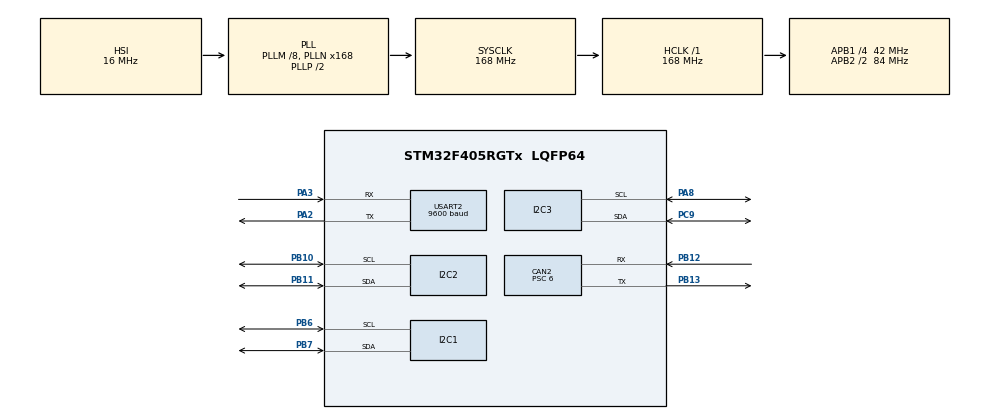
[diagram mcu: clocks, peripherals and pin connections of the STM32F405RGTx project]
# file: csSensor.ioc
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CAN2.BS1=CAN_BS1_11TQ
CAN2.BS2=CAN_BS2_2TQ
CAN2.CalculateBaudRate=500000
CAN2.CalculateTimeBit=2000
CAN2.CalculateTimeQuantum=142.85714285714286
CAN2.Prescaler=6
Dma.Request0=USART2_RX
Dma.USART2_RX.0.Direction=DMA_PERIPH_TO_MEMORY
Dma.USART2_RX.0.FIFOMode=DMA_FIFOMODE_DISABLE
Dma.USART2_RX.0.Instance=DMA1_Stream5
Dma.USART2_RX.0.MemDataAlignment=DMA_MDATAALIGN_BYTE
Dma.USART2_RX.0.MemInc=DMA_MINC_ENABLE
Dma.USART2_RX.0.Mode=DMA_NORMAL
Dma.USART2_RX.0.PeriphDataAlignment=DMA_PDATAALIGN_BYTE
Dma.USART2_RX.0.PeriphInc=DMA_PINC_DISABLE
Dma.USART2_RX.0.Priority=DMA_PRIORITY_LOW
Mcu.Family=STM32F4
Mcu.Name=STM32F405RGTx
Mcu.Package=LQFP64
NVIC.CAN2_RX0_IRQn=true\:0\:0\:false\:false\:true\:true\:true\:true
NVIC.DMA1_Stream5_IRQn=true\:0\:0\:false\:false\:true\:false\:true\:true
NVIC.PriorityGroup=NVIC_PRIORITYGROUP_4
PA13.Mode=Serial_Wire
PA13.Signal=SYS_JTMS-SWDIO
PA14.Mode=Serial_Wire
PA14.Signal=SYS_JTCK-SWCLK
PA2.Mode=Asynchronous
PA2.Signal=USART2_TX
PA3.Mode=Asynchronous
PA3.Signal=USART2_RX
PA8.Mode=I2C
PA8.Signal=I2C3_SCL
PB10.Mode=I2C
PB10.Signal=I2C2_SCL
PB11.Mode=I2C
PB11.Signal=I2C2_SDA
PB12.Mode=CAN_Activate
PB12.Signal=CAN2_RX
PB13.Mode=CAN_Activate
PB13.Signal=CAN2_TX
PB6.Mode=I2C
PB6.Signal=I2C1_SCL
PB7.Mode=I2C
PB7.Signal=I2C1_SDA
PC9.Mode=I2C
PC9.Signal=I2C3_SDA
PH0-OSC_IN.Mode=HSE-External-Oscillator
PH0-OSC_IN.Signal=RCC_OSC_IN
PH1-OSC_OUT.Mode=HSE-External-Oscillator
PH1-OSC_OUT.Signal=RCC_OSC_OUT
ProjectManager.HeapSize=0x200
ProjectManager.StackSize=0x400
ProjectManager.TargetToolchain=STM32CubeIDE
RCC.48MHZClocksFreq_Value=84000000
RCC.AHBFreq_Value=168000000
RCC.APB1CLKDivider=RCC_HCLK_DIV4
RCC.APB1Freq_Value=42000000
RCC.APB1TimFreq_Value=84000000
RCC.APB2CLKDivider=RCC_HCLK_DIV2
RCC.APB2Freq_Value=84000000
RCC.APB2TimFreq_Value=168000000
RCC.CortexFreq_Value=168000000
RCC.HCLKFreq_Value=168000000
RCC.HSE_VALUE=8000000
RCC.HSI_VALUE=16000000
RCC.LSE_VALUE=32768
RCC.PLLM=8
RCC.PLLN=168
RCC.SYSCLKFreq_VALUE=168000000
RCC.SYSCLKSource=RCC_SYSCLKSOURCE_PLLCLK
RCC.VCOOutputFreq_Value=336000000
RTC.Format=RTC_FORMAT_BIN
USART2.BaudRate=9600
USART2.VirtualMode=VM_ASYNC
VP_RTC_VS_RTC_Activate.Mode=RTC_Enabled
VP_RTC_VS_RTC_Calendar.Mode=RTC_Calendar
board=custom

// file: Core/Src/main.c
/* USER CODE BEGIN Header */
/**
  ******************************************************************************
  * @file           : main.c
  * @brief          : Main program body
  ******************************************************************************
  * @attention
  *
  * Copyright (c) 2026 STMicroelectronics.
  * All rights reserved.
  *
  * This software is licensed under terms that can be found in the LICENSE file
  * in the root directory of this software component.
  * If no LICENSE file comes with this software, it is provided AS-IS.
  *
  ******************************************************************************
  */
/* USER CODE END Header */
#include "main.h"

/* USER CODE BEGIN Includes */
#include "bno055UKB.h"
#include "ms5611UKB.h"
#include "nmea_parse.h"
#include "INA219.h"
#include <string.h>
#include <stdio.h>
#include "math.h"
/* USER CODE END Includes */

/* USER CODE BEGIN PD */
INA219_t ina219;
/* USER CODE END PD */

CAN_HandleTypeDef hcan2;

I2C_HandleTypeDef hi2c1;
I2C_HandleTypeDef hi2c2;
I2C_HandleTypeDef hi2c3;

RTC_HandleTypeDef hrtc;

UART_HandleTypeDef huart2;
DMA_HandleTypeDef hdma_usart2_rx;

/* USER CODE BEGIN PV */
/////////////GPS PV////////////////
int indx = 0;
#define RxBuffer_SIZE 128
#define DataBuffer_SIZE 256
uint16_t oldPos = 0;
uint16_t newPos = 0;
uint8_t RxBuffer[RxBuffer_SIZE];
uint8_t DataBuffer[DataBuffer_SIZE];
GPS myData;

/////////////CAN PV////////////////
CAN_TxHeaderTypeDef TxHeader;
CAN_RxHeaderTypeDef RxHeader;

uint32_t TxMailbox;

uint8_t TxData[8];
uint8_t RxData[8];

HAL_StatusTypeDef status;

volatile float receivedValue1 = 0;
volatile float receivedValue2 = 0;

/////////////INA219 PV/////////////
uint8_t inaOK = 0;
uint16_t busVoltage;
int16_t current;
/* USER CODE END PV */

void SystemClock_Config(void);
static void MX_GPIO_Init(void);
static void MX_DMA_Init(void);
static void MX_USART2_UART_Init(void);
static void MX_CAN2_Init(void);
static void MX_I2C1_Init(void);
static void MX_I2C2_Init(void);
static void MX_I2C3_Init(void);
static void MX_RTC_Init(void);
/* USER CODE BEGIN PFP */
void CAN_Filter_Config(void);
void CAN_Send_TwoFloat(float a, float b);
void CAN_Send_Datas(void);
/* USER CODE END PFP */

/* USER CODE BEGIN 0 */
void HAL_UARTEx_RxEventCallback(UART_HandleTypeDef *huart, uint16_t Size)
{
	HAL_GPIO_TogglePin(GPIOD, GPIO_PIN_12);
	indx = Size;

    oldPos = newPos; //keep track of the last position in the buffer
    if(oldPos + Size > DataBuffer_SIZE){ //if the buffer is full, parse it, then reset the buffer

        uint16_t datatocopy = DataBuffer_SIZE-oldPos;  // find out how much space is left in the main buffer
        memcpy ((uint8_t *)DataBuffer+oldPos, RxBuffer, datatocopy);  // copy data in that remaining space

        oldPos = 0;  // point to the start of the buffer
        memcpy ((uint8_t *)DataBuffer, (uint8_t *)RxBuffer+datatocopy, (Size-datatocopy));  // copy the remaining data
        newPos = (Size-datatocopy);  // update the position
    }
    else{
        memcpy((uint8_t *)DataBuffer+oldPos, RxBuffer, Size); //copy received data to the buffer
        newPos = Size+oldPos; //update buffer position

    }
    HAL_UARTEx_ReceiveToIdle_DMA(&huart2, RxBuffer, RxBuffer_SIZE); //re-enable the DMA interrupt
    __HAL_DMA_DISABLE_IT(&hdma_usart2_rx, DMA_IT_HT); //disable the half transfer interrupt
}
/* USER CODE END 0 */

int main(void)
{

  /* MCU Configuration--------------------------------------------------------*/

  /* Reset of all peripherals, Initializes the Flash interface and the Systick. */
  HAL_Init();

  /* Configure the system clock */
  SystemClock_Config();

  /* Initialize all configured peripherals */
  MX_GPIO_Init();
  MX_DMA_Init();
  MX_USART2_UART_Init();
  MX_CAN2_Init();
  MX_I2C1_Init();
  MX_I2C2_Init();
  MX_I2C3_Init();
  MX_RTC_Init();
  /* USER CODE BEGIN 2 */
  //////////////////BNO055 Init//////////////////
  bno055_initialize();

  //////////////////MS5611 Init//////////////////
  MS5611_Start();

  //////////////////INA219 Init//////////////////
  if (INA219_Init(&ina219, &hi2c2, INA219_ADDRESS))
  {
      inaOK = 1;
  } else inaOK = 2;

  INA219_setCalibration_32V_1A(&ina219);

  ////////////////////CAN Init///////////////////
  CAN_Filter_Config();
  HAL_CAN_Start(&hcan2);
  HAL_CAN_ActivateNotification(&hcan2, CAN_IT_RX_FIFO0_MSG_PENDING);
  float test1 = 10.5f;
  float test2 = 20.7f;

  ///////////////////GPS Init////////////////////
  HAL_UARTEx_ReceiveToIdle_DMA(&huart2, RxBuffer, RxBuffer_SIZE);
  __HAL_DMA_DISABLE_IT(&hdma_usart2_rx, DMA_IT_HT);
  /* USER CODE END 2 */

  /* Infinite loop */
  /* USER CODE BEGIN WHILE */
  while (1)
  {
	  bno055ReadAngles();
	  HAL_Delay(50);
	  altitudeControl();
	  HAL_Delay(50);
	  busVoltage = INA219_ReadBusVoltage(&ina219);
	  current = INA219_ReadCurrent(&ina219);
	  HAL_Delay(50);
	  nmea_parse(&myData, DataBuffer);
	  HAL_Delay(50);
      test1 += 0.1f;
      test2 += 0.2f;
      CAN_Send_Datas();
    /* USER CODE END WHILE */

  }
}

void SystemClock_Config(void)
{
  RCC_OscInitTypeDef RCC_OscInitStruct = {0};
  RCC_ClkInitTypeDef RCC_ClkInitStruct = {0};

  /** Configure the main internal regulator output voltage
  */
  __HAL_RCC_PWR_CLK_ENABLE();
  __HAL_PWR_VOLTAGESCALING_CONFIG(PWR_REGULATOR_VOLTAGE_SCALE1);

  /** Initializes the RCC Oscillators according to the specified parameters
  * in the RCC_OscInitTypeDef structure.
  */
  RCC_OscInitStruct.OscillatorType = RCC_OSCILLATORTYPE_HSI|RCC_OSCILLATORTYPE_LSI;
  RCC_OscInitStruct.HSIState = RCC_HSI_ON;
  RCC_OscInitStruct.HSICalibrationValue = RCC_HSICALIBRATION_DEFAULT;
  RCC_OscInitStruct.LSIState = RCC_LSI_ON;
  RCC_OscInitStruct.PLL.PLLState = RCC_PLL_ON;
  RCC_OscInitStruct.PLL.PLLSource = RCC_PLLSOURCE_HSI;
  RCC_OscInitStruct.PLL.PLLM = 8;
  RCC_OscInitStruct.PLL.PLLN = 168;
  RCC_OscInitStruct.PLL.PLLP = RCC_PLLP_DIV2;
  RCC_OscInitStruct.PLL.PLLQ = 4;
  if (HAL_RCC_OscConfig(&RCC_OscInitStruct) != HAL_OK)
  {
    Error_Handler();
  }

  /** Initializes the CPU, AHB and APB buses clocks
  */
  RCC_ClkInitStruct.ClockType = RCC_CLOCKTYPE_HCLK|RCC_CLOCKTYPE_SYSCLK
                              |RCC_CLOCKTYPE_PCLK1|RCC_CLOCKTYPE_PCLK2;
  RCC_ClkInitStruct.SYSCLKSource = RCC_SYSCLKSOURCE_PLLCLK;
  RCC_ClkInitStruct.AHBCLKDivider = RCC_SYSCLK_DIV1;
  RCC_ClkInitStruct.APB1CLKDivider = RCC_HCLK_DIV4;
  RCC_ClkInitStruct.APB2CLKDivider = RCC_HCLK_DIV2;

  if (HAL_RCC_ClockConfig(&RCC_ClkInitStruct, FLASH_LATENCY_5) != HAL_OK)
  {
    Error_Handler();
  }
}

static void MX_CAN2_Init(void)
{

  hcan2.Instance = CAN2;
  hcan2.Init.Prescaler = 6;
  hcan2.Init.Mode = CAN_MODE_NORMAL;
  hcan2.Init.SyncJumpWidth = CAN_SJW_1TQ;
  hcan2.Init.TimeSeg1 = CAN_BS1_11TQ;
  hcan2.Init.TimeSeg2 = CAN_BS2_2TQ;
  hcan2.Init.TimeTriggeredMode = DISABLE;
  hcan2.Init.AutoBusOff = DISABLE;
  hcan2.Init.AutoWakeUp = DISABLE;
  hcan2.Init.AutoRetransmission = ENABLE;
  hcan2.Init.ReceiveFifoLocked = DISABLE;
  hcan2.Init.TransmitFifoPriority = DISABLE;
  if (HAL_CAN_Init(&hcan2) != HAL_OK)
  {
    Error_Handler();
  }

}

static void MX_I2C1_Init(void)
{

  hi2c1.Instance = I2C1;
  hi2c1.Init.ClockSpeed = 100000;
  hi2c1.Init.DutyCycle = I2C_DUTYCYCLE_2;
  hi2c1.Init.OwnAddress1 = 0;
  hi2c1.Init.AddressingMode = I2C_ADDRESSINGMODE_7BIT;
  hi2c1.Init.DualAddressMode = I2C_DUALADDRESS_DISABLE;
  hi2c1.Init.OwnAddress2 = 0;
  hi2c1.Init.GeneralCallMode = I2C_GENERALCALL_DISABLE;
  hi2c1.Init.NoStretchMode = I2C_NOSTRETCH_DISABLE;
  if (HAL_I2C_Init(&hi2c1) != HAL_OK)
  {
    Error_Handler();
  }

}

static void MX_I2C2_Init(void)
{

  hi2c2.Instance = I2C2;
  hi2c2.Init.ClockSpeed = 100000;
  hi2c2.Init.DutyCycle = I2C_DUTYCYCLE_2;
  hi2c2.Init.OwnAddress1 = 0;
  hi2c2.Init.AddressingMode = I2C_ADDRESSINGMODE_7BIT;
  hi2c2.Init.DualAddressMode = I2C_DUALADDRESS_DISABLE;
  hi2c2.Init.OwnAddress2 = 0;
  hi2c2.Init.GeneralCallMode = I2C_GENERALCALL_DISABLE;
  hi2c2.Init.NoStretchMode = I2C_NOSTRETCH_DISABLE;
  if (HAL_I2C_Init(&hi2c2) != HAL_OK)
  {
    Error_Handler();
  }

}

static void MX_I2C3_Init(void)
{

  hi2c3.Instance = I2C3;
  hi2c3.Init.ClockSpeed = 100000;
  hi2c3.Init.DutyCycle = I2C_DUTYCYCLE_2;
  hi2c3.Init.OwnAddress1 = 0;
  hi2c3.Init.AddressingMode = I2C_ADDRESSINGMODE_7BIT;
  hi2c3.Init.DualAddressMode = I2C_DUALADDRESS_DISABLE;
  hi2c3.Init.OwnAddress2 = 0;
  hi2c3.Init.GeneralCallMode = I2C_GENERALCALL_DISABLE;
  hi2c3.Init.NoStretchMode = I2C_NOSTRETCH_DISABLE;
  if (HAL_I2C_Init(&hi2c3) != HAL_OK)
  {
    Error_Handler();
  }

}

static void MX_RTC_Init(void)
{

  RTC_TimeTypeDef sTime = {0};
  RTC_DateTypeDef sDate = {0};

  /** Initialize RTC Only
  */
  hrtc.Instance = RTC;
  hrtc.Init.HourFormat = RTC_HOURFORMAT_24;
  hrtc.Init.AsynchPrediv = 127;
  hrtc.Init.SynchPrediv = 255;
  hrtc.Init.OutPut = RTC_OUTPUT_DISABLE;
  hrtc.Init.OutPutPolarity = RTC_OUTPUT_POLARITY_HIGH;
  hrtc.Init.OutPutType = RTC_OUTPUT_TYPE_OPENDRAIN;
  if (HAL_RTC_Init(&hrtc) != HAL_OK)
  {
    Error_Handler();
  }

  /** Initialize RTC and set the Time and Date
  */
  sTime.Hours = 0;
  sTime.Minutes = 0;
  sTime.Seconds = 0;
  sTime.DayLightSaving = RTC_DAYLIGHTSAVING_NONE;
  sTime.StoreOperation = RTC_STOREOPERATION_RESET;
  if (HAL_RTC_SetTime(&hrtc, &sTime, RTC_FORMAT_BIN) != HAL_OK)
  {
    Error_Handler();
  }
  sDate.WeekDay = RTC_WEEKDAY_MONDAY;
  sDate.Month = RTC_MONTH_JANUARY;
  sDate.Date = 1;
  sDate.Year = 0;

  if (HAL_RTC_SetDate(&hrtc, &sDate, RTC_FORMAT_BIN) != HAL_OK)
  {
    Error_Handler();
  }

}

static void MX_USART2_UART_Init(void)
{

  huart2.Instance = USART2;
  huart2.Init.BaudRate = 9600;
  huart2.Init.WordLength = UART_WORDLENGTH_8B;
  huart2.Init.StopBits = UART_STOPBITS_1;
  huart2.Init.Parity = UART_PARITY_NONE;
  huart2.Init.Mode = UART_MODE_TX_RX;
  huart2.Init.HwFlowCtl = UART_HWCONTROL_NONE;
  huart2.Init.OverSampling = UART_OVERSAMPLING_16;
  if (HAL_UART_Init(&huart2) != HAL_OK)
  {
    Error_Handler();
  }

}

static void MX_DMA_Init(void)
{

  /* DMA controller clock enable */
  __HAL_RCC_DMA1_CLK_ENABLE();

  /* DMA interrupt init */
  /* DMA1_Stream5_IRQn interrupt configuration */
  HAL_NVIC_SetPriority(DMA1_Stream5_IRQn, 0, 0);
  HAL_NVIC_EnableIRQ(DMA1_Stream5_IRQn);

}

static void MX_GPIO_Init(void)
{

  /* GPIO Ports Clock Enable */
  __HAL_RCC_GPIOH_CLK_ENABLE();
  __HAL_RCC_GPIOA_CLK_ENABLE();
  __HAL_RCC_GPIOB_CLK_ENABLE();
  __HAL_RCC_GPIOC_CLK_ENABLE();

}

/* USER CODE BEGIN 4 */
void CAN_Send_TwoFloat(float a, float b)
{
    memcpy(&TxData[0], &a, 4);
    memcpy(&TxData[4], &b, 4);

    TxHeader.StdId = 0x123;
    TxHeader.ExtId = 0x01;
    TxHeader.RTR = CAN_RTR_DATA;
    TxHeader.IDE = CAN_ID_STD;
    TxHeader.DLC = 8;
    TxHeader.TransmitGlobalTime = DISABLE;

    status = HAL_CAN_AddTxMessage(&hcan2, &TxHeader, TxData, &TxMailbox);
}

void CAN_Send2Float(uint16_t id, float a, float b)
{
    CAN_TxHeaderTypeDef txHeader;
    uint32_t txMailbox;

    uint8_t data[8];

    memcpy(&data[0], &a, 4);
    memcpy(&data[4], &b, 4);

    txHeader.StdId = id;
    txHeader.IDE = CAN_ID_STD;
    txHeader.RTR = CAN_RTR_DATA;
    txHeader.DLC = 8;

    HAL_CAN_AddTxMessage(&hcan2, &txHeader, data, &txMailbox);
}

void CAN_Send_Datas(void)
{
    RTC_TimeTypeDef sTime;
    RTC_DateTypeDef sDate;

    HAL_RTC_GetTime(&hrtc, &sTime, RTC_FORMAT_BIN);
    HAL_RTC_GetDate(&hrtc, &sDate, RTC_FORMAT_BIN);

    float timeHourMin =
            (float)(sTime.Hours * 100 + sTime.Minutes);

    float timeSecMs =
            (float)(sTime.Seconds * 1000 + (HAL_GetTick() % 1000));

    while(HAL_CAN_GetTxMailboxesFreeLevel(&hcan2) == 0);
    CAN_Send2Float(0x112, yaw, pitch);

    while(HAL_CAN_GetTxMailboxesFreeLevel(&hcan2) == 0);
    CAN_Send2Float(0x113, roll, timeHourMin);

    while(HAL_CAN_GetTxMailboxesFreeLevel(&hcan2) == 0);
    CAN_Send2Float(0x114, accX, accY);

    while(HAL_CAN_GetTxMailboxesFreeLevel(&hcan2) == 0);
    CAN_Send2Float(0x115, accZ, timeSecMs);

    while(HAL_CAN_GetTxMailboxesFreeLevel(&hcan2) == 0);
    CAN_Send2Float(0x122, (float)pressure, (float)temperature);

    while(HAL_CAN_GetTxMailboxesFreeLevel(&hcan2) == 0);
    CAN_Send2Float(0x123, (float)altitude, 0);

    while(HAL_CAN_GetTxMailboxesFreeLevel(&hcan2) == 0);
    CAN_Send2Float(0x132,
                   (float)myData.latitude,
                   (float)myData.longitude);

    while(HAL_CAN_GetTxMailboxesFreeLevel(&hcan2) == 0);
    CAN_Send2Float(0x133,
                   (float)myData.altitude,
                   (float)myData.satelliteCount);

    while(HAL_CAN_GetTxMailboxesFreeLevel(&hcan2) == 0);
    CAN_Send2Float(0x142,
                   (float)busVoltage / 1000.0f,
                   (float)current);
}

void HAL_CAN_RxFifo0MsgPendingCallback(CAN_HandleTypeDef *hcan)
{
	//status = HAL_CAN_GetRxMessage(hcan, CAN_RX_FIFO0, &RxHeader, RxData);
    if (status != HAL_OK)
    {
        return;
    }

    memcpy((void*)&receivedValue1, &RxData[0], 4);
    memcpy((void*)&receivedValue2, &RxData[4], 4);
}

void CAN_Filter_Config(void)
{
    CAN_FilterTypeDef sFilterConfig;

    sFilterConfig.FilterBank = 14;
    sFilterConfig.SlaveStartFilterBank = 14;

    sFilterConfig.FilterMode = CAN_FILTERMODE_IDMASK;
    sFilterConfig.FilterScale = CAN_FILTERSCALE_32BIT;

    sFilterConfig.FilterIdHigh = 0x0000;
    sFilterConfig.FilterIdLow = 0x0000;

    sFilterConfig.FilterMaskIdHigh = 0x0000;
    sFilterConfig.FilterMaskIdLow = 0x0000;

    sFilterConfig.FilterFIFOAssignment = CAN_FILTER_FIFO0;
    sFilterConfig.FilterActivation = ENABLE;

    HAL_CAN_ConfigFilter(&hcan2, &sFilterConfig);
}
/* USER CODE END 4 */

void Error_Handler(void)
{
  __disable_irq();
  while (1)
  {
  }
}
